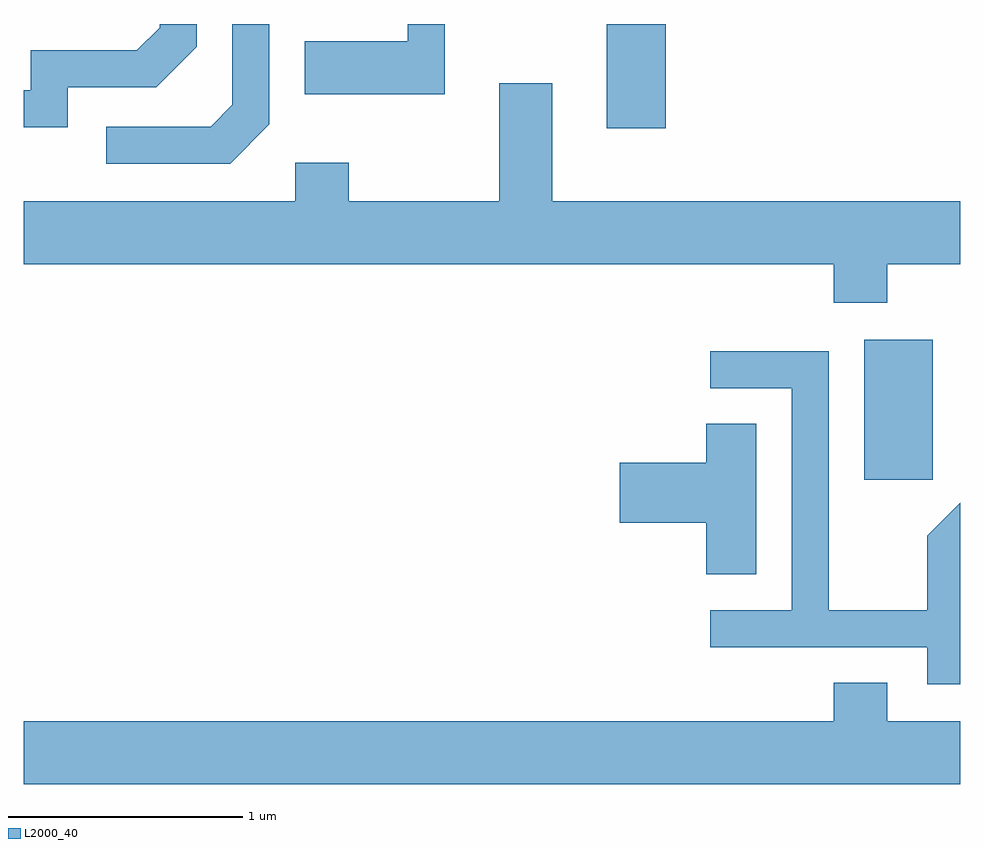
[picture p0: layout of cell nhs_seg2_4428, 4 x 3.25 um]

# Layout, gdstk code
import gdstk
lib = gdstk.Library(unit=1e-6, precision=1e-09)
def R(c, l, rs):  # rectangles x0, y0, x1, y1
    for r in rs: c.add(gdstk.rectangle(r[:2], r[2:], *l))
def P(c, l, *ps):  # polygons
    for p in ps: c.add(gdstk.Polygon(p, *l))
L2000_40 = (2000, 40)

nhs_seg2_4428 = lib.new_cell('nhs_seg2_4428')
R(nhs_seg2_4428, L2000_40, [(319.201,1031.856,319.494,1032.454), (318.101,1033.356,318.354,1033.802)])
P(nhs_seg2_4428, L2000_40, [(316.659,1033.373),(316.659,1033.802),(316.501,1033.802),(316.501,1033.457),(316.409,1033.364),(315.963,1033.364),(315.963,1033.206),(316.492,1033.206)],
  [(315.799,1033.531),(316.177,1033.531),(316.349,1033.704),(316.349,1033.802),(316.191,1033.802),(316.191,1033.786),(316.094,1033.689),(315.641,1033.689),(315.641,1033.519),(315.611,1033.519),(315.611,1033.361),(315.799,1033.361)],
  [(317.409,1033.802),(317.251,1033.802),(317.251,1033.729),(316.811,1033.729),(316.811,1033.501),(317.409,1033.501)],
  [(316.771,1033.209),(316.771,1033.044),(315.611,1033.044),(315.611,1032.776),(319.071,1032.776),(319.071,1032.611),(319.299,1032.611),(319.299,1032.776),(319.611,1032.776),(319.611,1033.044),(317.869,1033.044),(317.869,1033.549),(317.641,1033.549),(317.641,1033.044),(316.999,1033.044),(316.999,1033.209)],
  [(319.611,1031.757),(319.471,1031.617),(319.471,1031.299),(319.049,1031.299),(319.049,1032.404),(318.543,1032.404),(318.543,1032.246),(318.891,1032.246),(318.891,1031.299),(318.543,1031.299),(318.543,1031.141),(319.471,1031.141),(319.471,1030.981),(319.611,1030.981)],
  [(318.739,1032.094),(318.526,1032.094),(318.526,1031.929),(318.156,1031.929),(318.156,1031.671),(318.526,1031.671),(318.526,1031.451),(318.739,1031.451)],
  [(319.611,1030.824),(319.299,1030.824),(319.299,1030.989),(319.071,1030.989),(319.071,1030.824),(315.611,1030.824),(315.611,1030.556),(319.611,1030.556)])

lib.write_gds('nhs_seg2_4428.gds')
